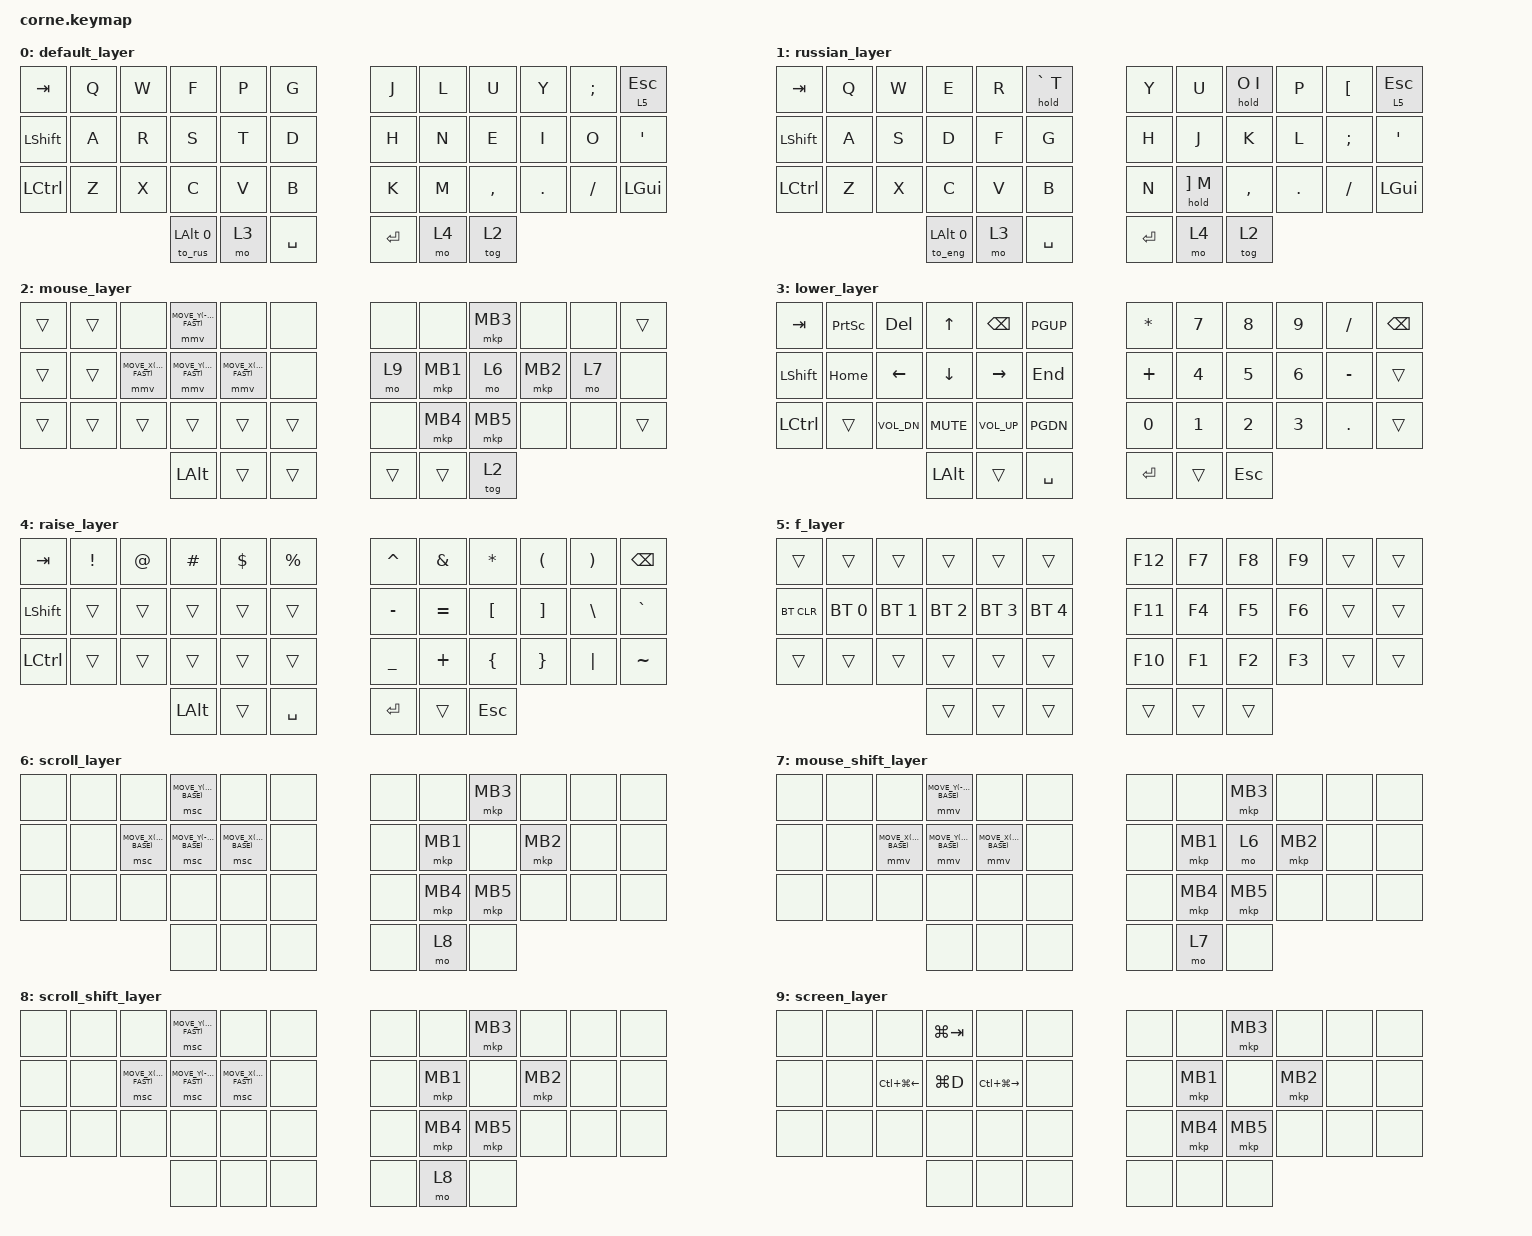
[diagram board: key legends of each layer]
/*
 * Copyright (c) 2020 The ZMK Contributors
 *
 * SPDX-License-Identifier: MIT
 */

#include <behaviors.dtsi>
#include <dt-bindings/zmk/keys.h>
#include <dt-bindings/zmk/bt.h>
#include <dt-bindings/zmk/pointing.h>
#include "behaviors/behavior_esc_layer_switch.dtsi"

#define MOVE_BASE (ZMK_POINTING_DEFAULT_MOVE_VAL)
#define MOVE_FAST (MOVE_BASE * 3)

#define SCROLL_BASE (ZMK_POINTING_DEFAULT_SCRL_VAL * 16)
#define SCROLL_FAST (SCROLL_BASE * 3)

/ {
        keymap {
                compatible = "zmk,keymap";

                default_layer {
// -----------------------------------------------------------------------------------------
// |  TAB |  Q  |  W  |  F  |  P  |  G  |   |  J  |  L  |  U  |  Y  |  ;  | BSPC |
// | LSHFT|  A  |  R  |  S  |  T  |  D  |   |  H  |  N  |  E  |  I  |  O  |  '   |
// | CTRL |  Z  |  X  |  C  |  V  |  B  |   |  K  |  M  |  ,  |  .  |  /  | GUI  |
//                    | LALT| LWR |SPACE|   | RET | RSE | ESC |
                        bindings = <
   &kp TAB   &kp Q &kp W &kp F &kp P &kp G   &kp J &kp L  &kp U     &kp Y   &kp SEMI &lt 5 ESC
   &kp LSHFT &kp A &kp R &kp S &kp T &kp D   &kp H &kp N  &kp E     &kp I   &kp O    &kp SQT
   &kp LCTRL &kp Z &kp X &kp C &kp V &kp B   &kp K &kp M  &kp COMMA &kp DOT &kp FSLH &kp LGUI
                  &to_rus LALT 0 &mo 3 &kp SPACE   &kp RET &mo 4 &tog 2
                        >;
                };

                russian_layer {
// -----------------------------------------------------------------------------------------
// |  TAB |  Q  |  W  |  E  |  R  | T ` |   |  Y  |  U  | I O |  P  |  [  | BSPC |
// | LSHFT|  A  |  S  |  D  |  F  |  G  |   |  H  |  J  |  K  |  L  |  ;  |  '   |
// | CTRL |  Z  |  X  |  C  |  V  |  B  |   |  N  | M ] |  ,  |  .  |  /  | GUI  |
//                    | LALT| LWR |SPACE|   | RET | RSE | ESC |
                        bindings = <
   &kp TAB   &kp Q &kp W &kp E &kp R &hold GRAVE T   &kp Y   &kp U        &hold O I      &kp P   &kp LBKT &lt 5 ESC
   &kp LSHFT &kp A &kp S &kp D &kp F &kp G           &kp H   &kp J        &kp K          &kp L   &kp SEMI &kp SQT
   &kp LCTRL &kp Z &kp X &kp C &kp V &kp B           &kp N   &hold RBKT M &kp COMMA      &kp DOT &kp FSLH &kp LGUI
                &to_eng LALT 0 &mo 3 &kp SPACE       &kp RET &mo 4 &tog 2
                        >;
                };

                mouse_layer {
// -----------------------------------------------------------------------------------------
                        bindings = <
   &trans &trans &none          &mmv MOVE_Y(-MOVE_FAST)   &none           &none      &none &none    &mkp MB3 &none    &none &trans
   &trans &trans &mmv MOVE_X(-MOVE_FAST) &mmv MOVE_Y(MOVE_FAST) &mmv MOVE_X(MOVE_FAST) &none      &mo 9    &mkp MB1 &mo 6    &mkp MB2 &mo 7 &none
   &trans &trans &trans          &trans          &trans           &trans      &none &mkp MB4 &mkp MB5 &none    &none &trans
                              &kp LALT          &trans           &trans      &trans &trans    &tog 2
                        >;
                };

                lower_layer {
// -----------------------------------------------------------------------------------------
// |  TAB  | PSCR |  DEL  |  UP  | BSPC | PGUP |   |  *  |  7  |  8  |  9  |  /  | BSPC |
// | LSHFT | HOME | LEFT  | DOWN | RGHT | END  |   |  +  |  4  |  5  |  6  |  -  |      |
// | CTRL  |      | VOL-  | MUTE | VOL+ | PGDN |   |  0  |  1  |  2  |  3  |  .  |      |
//                        | LALT |      |SPACE |   | RET |     | ESC |
                        bindings = <
   &kp TAB     &kp PSCRN   &kp DEL      &kp UP      &kp BSPC     &kp PGUP        &kp ASTRK   &kp N7   &kp N8   &kp N9   &kp FSLH  &kp BSPC
   &kp LSHFT   &kp HOME    &kp LEFT     &kp DOWN    &kp RIGHT    &kp END         &kp PLUS   &kp N4   &kp N5   &kp N6   &kp MINUS &trans
   &kp LCTRL   &trans      &kp C_VOL_DN &kp C_MUTE  &kp C_VOL_UP &kp PGDN       &kp N0     &kp N1   &kp N2   &kp N3   &kp DOT   &trans
                                                &kp LALT    &trans      &kp SPACE               &kp RET       &trans      &kp ESC
                        >;
                };

                raise_layer {
// -----------------------------------------------------------------------------------------
// |  TAB |  !  |  @  |  #  |  $  |  %  |   |  ^  |  &  |  *  |  (  |  )  | BSPC |
// | LSHFT|     |     |     |     |     |   |  -  |  =  |  [  |  ]  |  \  |  `   |
// | CTRL |     |     |     |     |     |   |  _  |  +  |  {  |  }  | "|" |  ~   |
//                    | LALT|     |SPACE|   | RET |     | ESC |
                        bindings = <
   &kp TAB   &kp EXCL &kp AT &kp HASH &kp DLLR &kp PRCNT   &kp CARET &kp AMPS  &kp ASTRK &kp LPAR &kp RPAR &kp BSPC
   &kp LSHFT &trans   &trans &trans   &trans   &trans      &kp MINUS &kp EQUAL &kp LBKT  &kp RBKT &kp BSLH &kp GRAVE
   &kp LCTRL &trans   &trans &trans   &trans   &trans      &kp UNDER &kp PLUS  &kp LBRC  &kp RBRC &kp PIPE &kp TILDE
                             &kp LALT &trans   &kp SPACE   &kp RET   &trans    &kp ESC
                        >;
                };

                f_layer {
// -----------------------------------------------------------------------------------------
// |   |    |    |    |    |    |   |  F12  |  F7  | F8  |  F9  |    |  |
// | BTCLR| BT1 | BT2 | BT3 | BT4 | BT5 |   | F11 | F4 |  F5 | F6 |     |      |
// |  |     |     |     |     |     |   |   F10  |   F1  |   F2  |  F3   |     |      |
//                    | |     |  |   |  |     |  |
                        bindings = <
   &trans      &trans   &trans   &trans   &trans   &trans      &kp F12   &kp F7   &kp F8   &kp F9   &trans   &trans
   &bt BT_CLR  &bt BT_SEL 0 &bt BT_SEL 1 &bt BT_SEL 2 &bt BT_SEL 3 &bt BT_SEL 4      &kp F11   &kp F4   &kp F5   &kp F6   &trans   &trans
   &trans      &trans   &trans   &trans   &trans   &trans      &kp F10   &kp F1   &kp F2   &kp F3   &trans   &trans
                                                &trans      &trans      &trans               &trans       &trans      &trans
                        >;
                };

                // When held, mouse move keys become scrolling commands.
                scroll_layer {
// -----------------------------------------------------------------------------------------
// |  (cursor)   |  (cursor)   |   |  scroll-left/up/down/right |      | LMB | MMB | RMB |
                        bindings = <
   &none &none &none          &msc MOVE_Y(SCROLL_BASE)   &none           &none      &none &none    &mkp MB3 &none    &none &none
   &none &none &msc MOVE_X(-SCROLL_BASE) &msc MOVE_Y(-SCROLL_BASE) &msc MOVE_X(SCROLL_BASE) &none      &none &mkp MB1 &none    &mkp MB2 &none &none
   &none &none &none          &none          &none           &none      &none &mkp MB4 &mkp MB5 &none    &none &none
                              &none          &none           &none      &none &mo 8    &none
                        >;
                };

                mouse_shift_layer {
// -----------------------------------------------------------------------------------------
                        bindings = <
   &none &none &none          &mmv MOVE_Y(-MOVE_BASE)   &none           &none      &none &none    &mkp MB3 &none    &none &none
   &none &none &mmv MOVE_X(-MOVE_BASE) &mmv MOVE_Y(MOVE_BASE) &mmv MOVE_X(MOVE_BASE) &none      &none &mkp MB1 &mo 6    &mkp MB2 &none &none
   &none &none &none          &none          &none           &none      &none &mkp MB4 &mkp MB5 &none    &none &none
                              &none          &none           &none      &none &mo 7    &none
                        >;
                };

                scroll_shift_layer {
// -----------------------------------------------------------------------------------------
                        bindings = <
   &none &none &none          &msc MOVE_Y(SCROLL_FAST)   &none           &none      &none &none    &mkp MB3 &none    &none &none
   &none &none &msc MOVE_X(-SCROLL_FAST) &msc MOVE_Y(-SCROLL_FAST) &msc MOVE_X(SCROLL_FAST) &none      &none &mkp MB1 &none    &mkp MB2 &none &none
   &none &none &none          &none          &none           &none      &none &mkp MB4 &mkp MB5 &none    &none &none
                              &none          &none           &none      &none &mo 8    &none
                        >;
                };

                screen_layer {
// -----------------------------------------------------------------------------------------
                        bindings = <
   &none &none &none          &kp LG(TAB)   &none           &none      &none &none    &mkp MB3 &none    &none &none
   &none &none &kp LC(LG(LEFT)) &kp LG(D) &kp LC(LG(RIGHT)) &none      &none &mkp MB1 &none    &mkp MB2 &none &none
   &none &none &none          &none          &none           &none      &none &mkp MB4 &mkp MB5 &none    &none &none
                              &none          &none           &none      &none &none    &none
                        >;
                };
        };
};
